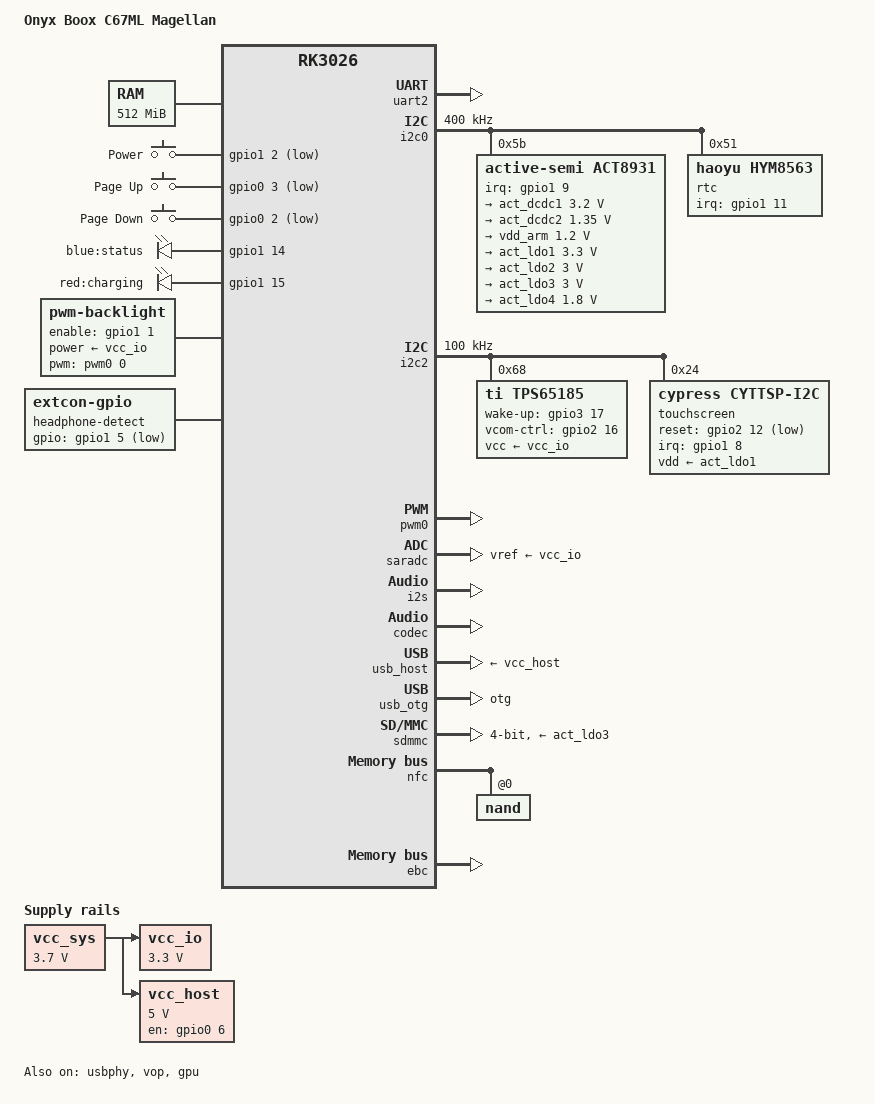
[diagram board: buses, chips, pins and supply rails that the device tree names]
// SPDX-License-Identifier: (GPL-2.0+ OR MIT)
/*
 * Device Tree for ONYX BOOX C67ML Magellan E-reader
 *
 * Copyright (c) 2024-2026
 *
 * Compatible devices (rebrands):
 *  - DOOKU e-reader
 *  - Afterglow 2 (Arta Tech, Poland)
 *  - C67ML Darwin (Russian market)
 *  - Promedia ereader (Aldi 2016, Carta, no WiFi)
 *  - Tagus Lux 2016
 *
 * Hardware:
 *  - SoC: Rockchip RK3026 (Dual-core Cortex-A9 @ 1.0 GHz)
 *  - RAM: 512 MB DDR3
 *  - Display: 6.0" E Ink 1024x758
 *  - WiFi: Realtek RTL8188EU USB
 *  - EPD Controller: TPS65185
 */

/dts-v1/;
#include "rk3026.dtsi"
#include <dt-bindings/input/input.h>

/ {
	model = "Onyx Boox C67ML Magellan";
	compatible = "onyx,c67ml-magellan", "rockchip,rk3026";

	memory@60000000 {
		device_type = "memory";
		reg = <0x60000000 0x20000000>; /* 512 MB */
	};

	chosen {
		stdout-path = "serial2:115200n8";
	};

	reserved-memory {
		#address-cells = <1>;
		#size-cells = <1>;
		ranges;

		/* Reserve memory for EBC (E-Paper Display Controller) */
		ebc_reserved: ebc@7f000000 {
			reg = <0x7f000000 0x1000000>; /* 16 MB */
			no-map;
		};
	};

	gpio-keys {
		compatible = "gpio-keys";
		autorepeat;
		pinctrl-names = "default";
		pinctrl-0 = <&pwrbtn &pageup_btn &pagedown_btn>;

		power {
			label = "Power";
			gpios = <&gpio1 2 GPIO_ACTIVE_LOW>;
			linux,code = <KEY_POWER>;
			wakeup-source;
		};

		/* Page-up / page-down: GPIO0_PA3 / GPIO0_PA2 (default variant).
		 * E601 / T63 swap these two; handled by a separate DTB overlay. */
		pageup {
			label = "Page Up";
			gpios = <&gpio0 3 GPIO_ACTIVE_LOW>;
			linux,code = <KEY_PAGEUP>;
			debounce-interval = <20>;
		};

		pagedown {
			label = "Page Down";
			gpios = <&gpio0 2 GPIO_ACTIVE_LOW>;
			linux,code = <KEY_PAGEDOWN>;
			debounce-interval = <20>;
		};
	};

	leds {
		compatible = "gpio-leds";
		pinctrl-names = "default";
		pinctrl-0 = <&led_pins>;

		led-0 {
			label = "blue:status";
			gpios = <&gpio1 14 GPIO_ACTIVE_HIGH>;
			linux,default-trigger = "heartbeat";
		};

		led-1 {
			label = "red:charging";
			gpios = <&gpio1 15 GPIO_ACTIVE_HIGH>;
			linux,default-trigger = "none";
		};
	};

	backlight: backlight {
		compatible = "pwm-backlight";
		pwms = <&pwm0 0 25000 0>;
		brightness-levels = <
			  0   1   2   3   4   5   6   7
			  8   9  10  11  12  13  14  15
			 16  17  18  19  20  21  22  23
			 24  25  26  27  28  29  30  31
			 32  33  34  35  36  37  38  39
			 40  41  42  43  44  45  46  47
			 48  49  50  51  52  53  54  55
			 56  57  58  59  60  61  62  63
			 64  65  66  67  68  69  70  71
			 72  73  74  75  76  77  78  79
			 80  81  82  83  84  85  86  87
			 88  89  90  91  92  93  94  95
			 96  97  98  99 100 101 102 103
			104 105 106 107 108 109 110 111
			112 113 114 115 116 117 118 119
			120 121 122 123 124 125 126 127
			128 129 130 131 132 133 134 135
			136 137 138 139 140 141 142 143
			144 145 146 147 148 149 150 151
			152 153 154 155 156 157 158 159
			160 161 162 163 164 165 166 167
			168 169 170 171 172 173 174 175
			176 177 178 179 180 181 182 183
			184 185 186 187 188 189 190 191
			192 193 194 195 196 197 198 199
			200 201 202 203 204 205 206 207
			208 209 210 211 212 213 214 215
			216 217 218 219 220 221 222 223
			224 225 226 227 228 229 230 231
			232 233 234 235 236 237 238 239
			240 241 242 243 244 245 246 247
			248 249 250 251 252 253 254 255>;
		default-brightness-level = <128>;
		enable-gpios = <&gpio1 1 GPIO_ACTIVE_HIGH>;
		pinctrl-names = "default";
		pinctrl-0 = <&bl_en>;
		power-supply = <&vcc_io>;
	};

	/* Headphone jack detection: RK30_PIN1_PA5 = GPIO1 pin 5 */
	headphone-detect {
		compatible = "linux,extcon-gpio";
		gpios = <&gpio1 5 GPIO_ACTIVE_LOW>;
		pinctrl-names = "default";
		pinctrl-0 = <&hp_det>;
	};

	sound {
		compatible = "simple-audio-card";
		simple-audio-card,name = "rk3026-codec";
		simple-audio-card,format = "i2s";
		simple-audio-card,mclk-fs = <256>;

		simple-audio-card,cpu {
			sound-dai = <&i2s>;
		};

		simple-audio-card,codec {
			sound-dai = <&codec>;
		};
	};

	vcc_sys: vcc-sys {
		compatible = "regulator-fixed";
		regulator-name = "vcc_sys";
		regulator-always-on;
		regulator-boot-on;
		regulator-min-microvolt = <3700000>;
		regulator-max-microvolt = <3700000>;
	};

	vcc_io: vcc-io {
		compatible = "regulator-fixed";
		regulator-name = "vcc_io";
		regulator-always-on;
		regulator-boot-on;
		regulator-min-microvolt = <3300000>;
		regulator-max-microvolt = <3300000>;
		vin-supply = <&vcc_sys>;
	};

	vcc_host: vcc-host {
		compatible = "regulator-fixed";
		regulator-name = "vcc_host";
		regulator-min-microvolt = <5000000>;
		regulator-max-microvolt = <5000000>;
		gpio = <&gpio0 6 GPIO_ACTIVE_HIGH>;
		pinctrl-names = "default";
		pinctrl-0 = <&host_vbus_drv>;
		enable-active-high;
		vin-supply = <&vcc_sys>;
	};
};

&cpu0 {
	cpu-supply = <&vdd_arm>;
};

&cpu1 {
	cpu-supply = <&vdd_arm>;
};

&uart2 {
	status = "okay";
};

&i2c0 {
	status = "okay";
	clock-frequency = <400000>;

	/* ACT8931: Power Management IC
	 *
	 * Voltage Supply Hierarchy:
	 * - Battery (3.7V nominal) -> PMIC -> Regulators
	 * - VCC_SYS (fixed 3.7V):
	 *   - DCDC1 -> VCC_IO (3.2V): System IO, backlight, etc.
	 *   - DCDC2 -> VDD_DDR (1.35V): DRAM core
	 *   - DCDC3 -> VDD_ARM (1.2V): ARM CPU core
	 *   - LDO1 -> VCC_TP (3.3V): Touch screen
	 *   - LDO3 -> VCC_SD (3.0V): SD card
	 *   - LDO4 -> VCC_LCD (1.8V): Display controller
	 */
	act8931: act8931@5b {
		compatible = "active-semi,act8931";
		reg = <0x5b>;
		status = "okay";

		/* PMU_INT_PIN = RK30_PIN1_PB1 = GPIO1 pin 9 */
		interrupts = <9 IRQ_TYPE_LEVEL_LOW>;
		interrupt-parent = <&gpio1>;

		pinctrl-names = "default";
		pinctrl-0 = <&pmu_int>;

		regulators {
			/* DCDC1: VCC_IO (3.2V) */
			act_dcdc1: act_dcdc1 {
				regulator-name = "act_dcdc1";
				regulator-min-microvolt = <3200000>;
				regulator-max-microvolt = <3200000>;
				regulator-always-on;
				regulator-boot-on;
			};

			/* DCDC2: VDD_DDR (1.35V) */
			act_dcdc2: act_dcdc2 {
				regulator-name = "act_dcdc2";
				regulator-min-microvolt = <1350000>;
				regulator-max-microvolt = <1350000>;
				regulator-always-on;
				regulator-boot-on;
			};

			/* DCDC3: VDD_ARM (1.2V) */
			vdd_arm: act_dcdc3 {
				regulator-name = "vdd_arm";
				regulator-min-microvolt = <1200000>;
				regulator-max-microvolt = <1200000>;
				regulator-always-on;
				regulator-boot-on;
			};

			/* LDO1: VCC_TP (3.3V) */
			act_ldo1: act_ldo1 {
				regulator-name = "act_ldo1";
				regulator-min-microvolt = <3300000>;
				regulator-max-microvolt = <3300000>;
				regulator-always-on;
				regulator-boot-on;
			};

			/* LDO2: Auxiliary (3.0V, disabled by default) */
			act_ldo2: act_ldo2 {
				regulator-name = "act_ldo2";
				regulator-min-microvolt = <3000000>;
				regulator-max-microvolt = <3000000>;
			};

			/* LDO3: VCC_SD (3.0V) */
			act_ldo3: act_ldo3 {
				regulator-name = "act_ldo3";
				regulator-min-microvolt = <3000000>;
				regulator-max-microvolt = <3000000>;
				regulator-always-on;
				regulator-boot-on;
			};

			/* LDO4: VCC_LCD (1.8V) */
			act_ldo4: act_ldo4 {
				regulator-name = "act_ldo4";
				regulator-min-microvolt = <1800000>;
				regulator-max-microvolt = <1800000>;
				regulator-always-on;
				regulator-boot-on;
			};
		};
	};

	/* HYM8563: RTC — RTC_INT_PIN = RK30_PIN1_PB3 = GPIO1 pin 11 */
	rtc: rtc@51 {
		compatible = "haoyu,hym8563";
		reg = <0x51>;
		interrupt-parent = <&gpio1>;
		interrupts = <11 IRQ_TYPE_EDGE_FALLING>;
		pinctrl-names = "default";
		pinctrl-0 = <&rtc_int>;
		#clock-cells = <0>;
	};
};

&i2c1 {
	status = "disabled";
};

&i2c2 {
	status = "okay";
	clock-frequency = <100000>;

	/* TPS65185: E-Paper Display Power Management IC
	 *
	 * Single-chip power supply for E Ink displays.
	 * Generates ±16V rails for display panel.
	 *
	 * wake_up_pin  = RK30_PIN3_PC1 = GPIO3 pin 17
	 * vcom_ctl_pin = RK30_PIN2_PC0 = GPIO2 pin 16
	 */
	tps65185: tps65185@68 {
		compatible = "ti,tps65185";
		reg = <0x68>;
		vcom-voltage-mv = <2500>;
		wake-up-gpios = <&gpio3 17 GPIO_ACTIVE_HIGH>;
		vcom-ctrl-gpios = <&gpio2 16 GPIO_ACTIVE_HIGH>;
		vcc-supply = <&vcc_io>;
		pinctrl-names = "default";
		pinctrl-0 = <&tps65185_pins>;
		status = "okay";
	};

	/* Cypress TrueTouch (cyttsp gen3): the vendor C67ML defconfig selects
	 * CONFIG_TOUCHSCREEN_XC3 (drivers/input/touchscreen/xc3_cyttsp.c), which
	 * is the legacy gen3 binding — NOT cyttsp4. I2C addr 0x24, native res
	 * 1024x758 (xc3_cyttsp.c: maxx=1024, maxy=758).
	 * TOUCH_INT_PIN = RK30_PIN1_PB0 = GPIO1 pin 8
	 * TOUCH_RST_PIN = RK30_PIN2_PB4 = GPIO2 pin 12
	 */
	touchscreen: cyttsp-i2c@24 {
		compatible = "cypress,cyttsp-i2c";
		reg = <0x24>;
		pinctrl-names = "default";
		pinctrl-0 = <&touch_int &touch_rst>;
		interrupt-parent = <&gpio1>;
		interrupts = <8 IRQ_TYPE_EDGE_FALLING>;
		reset-gpios = <&gpio2 12 GPIO_ACTIVE_LOW>;
		vdd-supply = <&act_ldo1>;
		touchscreen-size-x = <1024>;
		touchscreen-size-y = <758>;
	};
};

&pwm0 {
	status = "okay";
};

&saradc {
	status = "okay";
	vref-supply = <&vcc_io>;
};

&i2s {
	status = "okay";
};

&codec {
	status = "okay";
};

&usbphy {
	status = "okay";
};

&usb_host {
	status = "okay";
	vbus-supply = <&vcc_host>;
};

&usb_otg {
	status = "okay";
	/*
	 * "otg", not "host". 0x10180000 is the external micro-USB port; the
	 * RTL8188EU WiFi is on the host-only controller at 0x101c0000. With
	 * "host" here, board_usb_init() (arch/arm/mach-rockchip/board.c:251)
	 * accepts neither of our dwc2 nodes, returns -ENODEV before
	 * dwc2_udc_probe(), and the ACM gadget silently never starts -- which is
	 * what made otg_phy_init() and step probes 76/77 unreachable code.
	 *
	 * The canonical dts/rk3026-onyx-c67ml-magellan.dts already said "otg";
	 * this copy, which is the one that BUILDS, was stale.
	 */
	dr_mode = "otg";
};

&sdmmc {
	status = "okay";
	bus-width = <4>;
	/*
	 * REQUIRED by rockchip_dwmmc_of_to_plat(): with neither
	 * 'clock-freq-min-max' nor 'max-frequency' it returns -EINVAL before the
	 * probe is entered, initr_mmc fails, the INITCALL fails and U-Boot calls
	 * hang() -- which presents as a lock-up, not an error.
	 * PROVEN on hardware 2026-07-28: step 40 (CRU probe done) blinks, step 41
	 * (dwmmc probe entered) does not.
	 *
	 * 50 MHz is the SD high-speed ceiling; conservative and not yet tuned.
	 */
	max-frequency = <50000000>;

	cap-mmc-highspeed;
	cap-sd-highspeed;
	card-detect-delay = <200>;
	disable-wp;
	pinctrl-names = "default";
	pinctrl-0 = <&sdmmc_clk &sdmmc_cmd &sdmmc_cd &sdmmc_bus4>;
	vmmc-supply = <&act_ldo3>;
	vqmmc-supply = <&vcc_io>;
};

/*
 * The internal 4 GB store is RAW NAND (NFC_V6 controller), NOT eMMC — the
 * "eMMC" on spec sheets is wrong (verified from vendor binaries; see
 * docs/HARDWARE-CONSTANTS.md).  The NAND data lines (GPIO1 D0-D7) are the same
 * pins the eMMC node would use in its FUNC2 alternate, so the two are mutually
 * exclusive.  We enable the NAND controller and leave &emmc disabled.
 *
 * Note: the vendor on-flash layout is managed by a closed FTL that mainline
 * cannot read.  This NAND is intended to be reformatted with UBI/UBIFS for a
 * mainline rootfs (the boot chain still loads from SD — the Rockchip SPL has
 * no NAND boot device).
 */
&emmc {
	status = "disabled";
};

&nfc {
	status = "okay";

	nand@0 {
		reg = <0>;
		nand-ecc-mode = "hw";
		nand-ecc-strength = <24>;
		nand-ecc-step-size = <1024>;
		nand-bus-width = <8>;
	};
};

&ebc {
	status = "okay";
	memory-region = <&ebc_reserved>;

	/* E Ink V110_B638_60_VO0102_BTC, 6.0" 1024x758.
	 * Timings recovered from vendor rk_epd/hardware_epd_public.c
	 * (CONFIG_V220_EINK_1024X758), selected by every e601/e602 defconfig.
	 * gdck_sta=4, lgonl=262, frame_rate=85, rotate=270.
	 * Waveform: /lib/firmware/rockchip/rk3026-c67ml.wbf
	 * (extracted from the compiled-in waveform[] array; rkf v1.0.1).
	 */
	panel-timing {
		clock-frequency = <20000000>;
		hactive = <1024>;
		vactive = <758>;
		hsync-len = <6>;	/* LSL */
		hback-porch = <6>;	/* LBL (hstart_len) */
		hfront-porch = <38>;	/* LEL (hend_len) */
		vsync-len = <2>;	/* FSL */
		vback-porch = <4>;	/* FBL (vstart_len) */
		vfront-porch = <5>;	/* FEL (vend_len) */
	};
};

&vop {
	status = "okay";
};

&gpu {
	status = "okay";
	mali-supply = <&vcc_io>;
};

&pinctrl {
	leds {
		led_pins: led-pins {
			rockchip,pins = <1 14 0 &pcfg_pull_none>,
					<1 15 0 &pcfg_pull_none>;
		};
	};

	buttons {
		pwrbtn: pwrbtn {
			rockchip,pins = <1 2 0 &pcfg_pull_up>;
		};
	};

	backlight {
		bl_en: bl-en {
			rockchip,pins = <1 1 0 &pcfg_pull_none>;
		};
	};

	usb {
		host_vbus_drv: host-vbus-drv {
			rockchip,pins = <0 6 0 &pcfg_pull_none>;
		};
	};

	touchscreen {
		touch_int: touch-int {
			rockchip,pins = <1 8 0 &pcfg_pull_up>;
		};

		touch_rst: touch-rst {
			rockchip,pins = <2 12 0 &pcfg_pull_none>;
		};
	};

	pmic {
		pmu_int: pmu-int {
			rockchip,pins = <1 9 0 &pcfg_pull_up>;
		};
	};

	epd-pmic {
		/* wake_up = RK30_PIN3_PC1 = GPIO3 pin 17
		 * vcom_ctl = RK30_PIN2_PC0 = GPIO2 pin 16 */
		tps65185_pins: tps65185-pins {
			rockchip,pins = <3 17 0 &pcfg_pull_none>,
					<2 16 0 &pcfg_pull_none>;
		};
	};

	rtc {
		/* RTC_INT_PIN = RK30_PIN1_PB3 = GPIO1 pin 11 */
		rtc_int: rtc-int {
			rockchip,pins = <1 11 0 &pcfg_pull_up>;
		};
	};

	headphone {
		/* RK30_PIN1_PA5 = GPIO1 pin 5 */
		hp_det: hp-det {
			rockchip,pins = <1 5 0 &pcfg_pull_none>;
		};
	};

	keys {
		pageup_btn: pageup-btn {
			rockchip,pins = <0 3 0 &pcfg_pull_up>;
		};

		pagedown_btn: pagedown-btn {
			rockchip,pins = <0 2 0 &pcfg_pull_up>;
		};
	};
};
